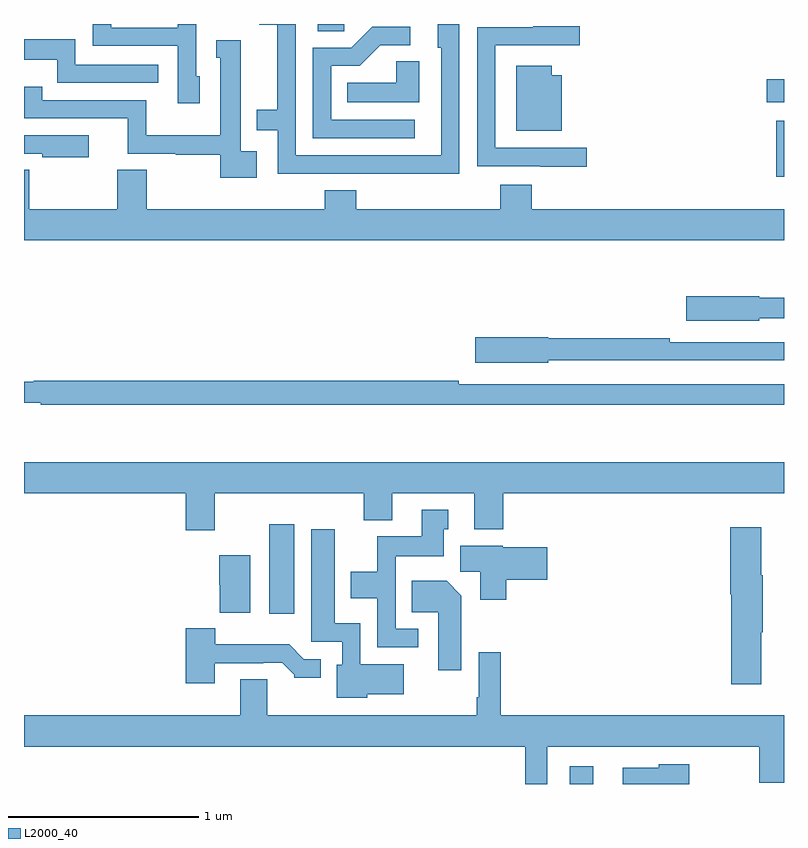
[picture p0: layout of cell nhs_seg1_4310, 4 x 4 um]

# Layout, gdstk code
import gdstk
lib = gdstk.Library(unit=1e-6, precision=1e-09)
def R(c, l, rs):  # rectangles x0, y0, x1, y1
    for r in rs: c.add(gdstk.rectangle(r[:2], r[2:], *l))
def P(c, l, *ps):  # polygons
    for p in ps: c.add(gdstk.Polygon(p, *l))
L2000_40 = (2000, 40)

nhs_seg1_4310 = lib.new_cell('nhs_seg1_4310')
R(nhs_seg1_4310, L2000_40, [(347.873,554.199,347.995,554.293), (346.292,555.096,346.423,555.565), (348.959,557.394,349,557.689), (348.909,557.786,349,557.908), (346.547,558.16,346.685,558.199), (348.959,558.198,349,558.199)])
P(nhs_seg1_4310, L2000_40, [(345.925,557.925),(345.906,557.925),(345.906,558.199),(345.81,558.199),(345.81,558.18),(345.459,558.18),(345.459,558.199),(345.363,558.199),(345.363,558.084),(345.81,558.084),(345.81,557.781),(345.925,557.781)],
  [(347.292,558.199),(347.177,558.199),(347.177,558.075),(347.196,558.075),(347.196,557.508),(346.431,557.508),(346.431,558.199),(346.238,558.199),(346.238,558.195),(346.334,558.195),(346.334,557.749),(346.226,557.749),(346.226,557.64),(346.335,557.64),(346.335,557.412),(346.831,557.412),(346.831,557.411),(347.292,557.411)],
  [(347.962,557.547),(347.481,557.547),(347.481,558.087),(347.926,558.087),(347.926,558.187),(347.681,558.187),(347.681,558.183),(347.385,558.183),(347.385,557.451),(347.717,557.451),(347.717,557.447),(347.962,557.447)],
  [(347.056,557.694),(346.617,557.694),(346.617,557.979),(346.767,557.979),(346.875,558.087),(347.032,558.087),(347.032,558.185),(346.832,558.185),(346.722,558.075),(346.521,558.075),(346.521,557.598),(347.056,557.598)],
  [(345.706,557.985),(345.27,557.985),(345.27,558.118),(345,558.118),(345,558.011),(345.174,558.011),(345.174,557.89),(345.277,557.89),(345.277,557.889),(345.706,557.889)],
  [(346.225,557.53),(346.14,557.53),(346.14,557.626),(346.141,557.626),(346.141,558.114),(346.013,558.114),(346.013,558.021),(346.034,558.021),(346.034,557.614),(345.643,557.614),(345.643,557.799),(345.096,557.799),(345.096,557.869),(345,557.869),(345,557.703),(345.545,557.703),(345.545,557.517),(345.798,557.517),(345.798,557.512),(346.032,557.512),(346.032,557.39),(346.225,557.39)],
  [(347.08,558.002),(346.958,558.002),(346.958,557.89),(346.702,557.89),(346.702,557.786),(347.08,557.786)],
  [(347.83,557.929),(347.777,557.929),(347.777,557.98),(347.591,557.98),(347.591,557.636),(347.83,557.636)],
  [(345.34,557.613),(345,557.613),(345,557.517),(345.095,557.517),(345.095,557.498),(345.34,557.498)],
  [(349,557.224),(347.672,557.224),(347.672,557.353),(347.507,557.353),(347.507,557.224),(346.748,557.224),(346.748,557.323),(346.583,557.323),(346.583,557.224),(345.645,557.224),(345.645,557.432),(345.49,557.432),(345.49,557.224),(345.027,557.224),(345.027,557.432),(345,557.432),(345,557.06),(349,557.06)],
  [(348.87,556.65),(349,556.65),(349,556.759),(348.87,556.759),(348.87,556.767),(348.486,556.767),(348.486,556.637),(348.87,556.637)],
  [(347.76,556.428),(349,556.428),(349,556.524),(348.398,556.524),(348.398,556.544),(347.76,556.544),(347.76,556.55),(347.376,556.55),(347.376,556.415),(347.76,556.415)],
  [(349,556.302),(347.288,556.302),(347.288,556.322),(345.052,556.322),(345.052,556.315),(345,556.315),(345,556.206),(345.088,556.206),(345.088,556.194),(349,556.194)],
  [(346.003,555.728),(346.787,555.728),(346.787,555.587),(346.939,555.587),(346.939,555.728),(347.369,555.728),(347.369,555.539),(347.522,555.539),(347.522,555.728),(349,555.728),(349,555.892),(345,555.892),(345,555.728),(345.851,555.728),(345.851,555.534),(346.003,555.534)],
  [(347.074,555.015),(346.956,555.015),(346.956,555.398),(347.209,555.398),(347.209,555.54),(347.233,555.54),(347.233,555.643),(347.093,555.643),(347.093,555.502),(346.858,555.502),(346.858,555.316),(346.721,555.316),(346.721,555.176),(346.86,555.176),(346.86,554.919),(347.074,554.919)],
  [(348.88,554.998),(348.888,554.998),(348.888,555.298),(348.88,555.298),(348.88,555.55),(348.716,555.55),(348.716,555.198),(348.722,555.198),(348.722,554.724),(348.88,554.724)],
  [(346.806,554.672),(346.999,554.672),(346.999,554.83),(346.77,554.83),(346.77,555.046),(346.636,555.046),(346.636,555.541),(346.511,555.541),(346.511,554.949),(346.674,554.949),(346.674,554.826),(346.646,554.826),(346.646,554.654),(346.806,554.654)],
  [(347.537,555.275),(347.755,555.275),(347.755,555.445),(347.52,555.445),(347.52,555.454),(347.297,555.454),(347.297,555.316),(347.402,555.316),(347.402,555.168),(347.537,555.168)],
  [(346.192,555.403),(346.028,555.403),(346.028,555.249),(346.03,555.249),(346.03,555.101),(346.192,555.101)],
  [(347.302,555.19),(347.224,555.268),(347.041,555.268),(347.041,555.104),(347.18,555.104),(347.18,554.799),(347.302,554.799)],
  [(346.003,554.835),(346.259,554.835),(346.259,554.838),(346.358,554.838),(346.422,554.774),(346.422,554.759),(346.561,554.759),(346.561,554.856),(346.473,554.856),(346.395,554.935),(346.006,554.935),(346.006,555.019),(345.851,555.019),(345.851,554.73),(346.003,554.73)],
  [(347.754,554.396),(348.869,554.396),(348.869,554.206),(349,554.206),(349,554.56),(347.51,554.56),(347.51,554.893),(347.394,554.893),(347.394,554.656),(347.382,554.656),(347.382,554.56),(346.279,554.56),(346.279,554.75),(346.139,554.75),(346.139,554.56),(345,554.56),(345,554.396),(347.638,554.396),(347.638,554.199),(347.754,554.199)],
  [(348.502,554.302),(348.342,554.302),(348.342,554.284),(348.15,554.284),(348.15,554.199),(348.502,554.199)])

lib.write_gds('nhs_seg1_4310.gds')
